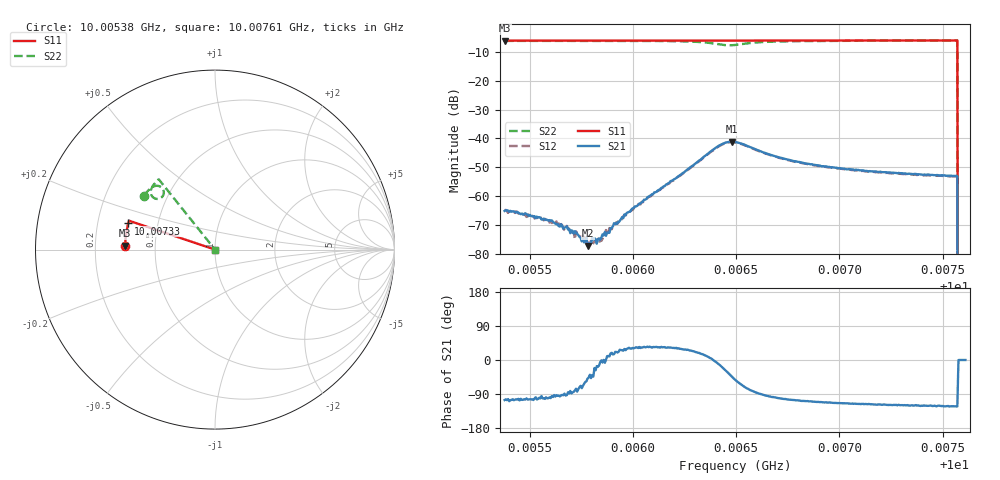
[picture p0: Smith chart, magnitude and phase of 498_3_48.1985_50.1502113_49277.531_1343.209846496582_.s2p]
#  HZ  S  RI  R  50.00
! Rohde & Schwarz Vector Network Analyzer
! Rohde-Schwarz,ZNB20-2Port,1311601062101988,3.16
! Created: UTC 3/20/2024, 11:58:21 AM
! freq[Hz]  re:S11  im:S11  re:S21  im:S21  re:S12  im:S12  re:S22  im:S22
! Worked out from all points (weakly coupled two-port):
!   401 points, 10.00538 GHz to 10.00761 GHz, reference 50 ohm
!   highest |S21| = -41.12 dB at 10.00648 GHz (marker M1); lowest = -77.3 dB at 10.00578 GHz (marker M2)
!   lowest |S11| = -6.0 dB at 10.00538 GHz (marker M3), VSWR 3.01, Z = 16.6 + j0.958 ohm
!   |S11| at or under -10 dB: 10.00757 GHz to end of sweep
!   |S22| runs from - to -6.0 dB; largest |S21 - S12| = 0.00052
!   S11 on the Smith chart (normalised r, x): 10.00538 GHz: 0.33, +0.02; 10.00733 GHz: 0.34, +0.13; 10.00761 GHz: 1.00, +0.00
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1.0005379e10  -0.5003 0.0216  -0.000148 -0.000529  -0.000107 -0.000555  -0.3955 0.2993
1.0005602e10  -0.5 0.0361  -6.74e-05 -0.000363  -1.48e-05 -0.00037  -0.3858 0.3125
1.0005641e10  -0.4998 0.0386  -2.21e-05 -0.000297  -3.51e-05 -0.000332  -0.3841 0.315
1.0005713e10  -0.4997 0.0433  2.4e-05 -0.000222  5.16e-05 -0.00023  -0.3805 0.3194
1.0005752e10  -0.4995 0.0458  4.4e-05 -0.000156  6.61e-05 -0.000182  -0.3786 0.3217
1.000578e10  -0.4995 0.0476  8.95e-05 -0.000103  9.41e-05 -0.000115  -0.3771 0.3235
1.0005797e10  -0.4992 0.0487  0.000103 -0.000113  0.000132 -0.000103  -0.3762 0.3246
1.0005847e10  -0.4991 0.052  0.000191 -2.95e-06  0.000166 1.67e-06  -0.3734 0.3278
1.0005881e10  -0.4988 0.0541  0.000224 4.28e-05  0.000224 5.57e-05  -0.3714 0.3299
1.0005903e10  -0.4987 0.0556  0.000286 7.44e-05  0.000277 0.0001  -0.3699 0.3313
1.0005964e10  -0.4983 0.0596  0.000415 0.0002  0.000396 0.000234  -0.3659 0.3355
1.0006126e10  -0.4975 0.0701  0.00106 0.00071  0.000999 0.000749  -0.3521 0.3468
1.0006405e10  -0.4944 0.0879  0.007 -0.000786  0.00686 -0.000416  -0.2879 0.3326
1.0006477e10  -0.4938 0.0921  0.0064 -0.00602  0.00661 -0.00554  -0.3016 0.288
1.0006494e10  -0.4935 0.0931  0.00535 -0.0068  0.00563 -0.00637  -0.3124 0.2833
1.0006695e10  -0.4921 0.1058  -0.000795 -0.00475  -0.000597 -0.00474  -0.358 0.3259
1.0006868e10  -0.49 0.1169  -0.0012 -0.00334  -0.00106 -0.00334  -0.3506 0.3485
1.0007242e10  -0.4847 0.1406  -0.00123 -0.00226  -0.00107 -0.00224  -0.3305 0.3749
1.0007331e10  -0.4832 0.146  -0.00117 -0.00211  -0.00108 -0.00213  -0.3259 0.3799
1.000756e10  -0.4791 0.1602  -0.00119 -0.00188  -0.00106 -0.00191  -0.3141 0.3915
1.0007587e10  0 0  0 0  0 0  0 0
1.000761e10  0 0  0 0  0 0  0 0
